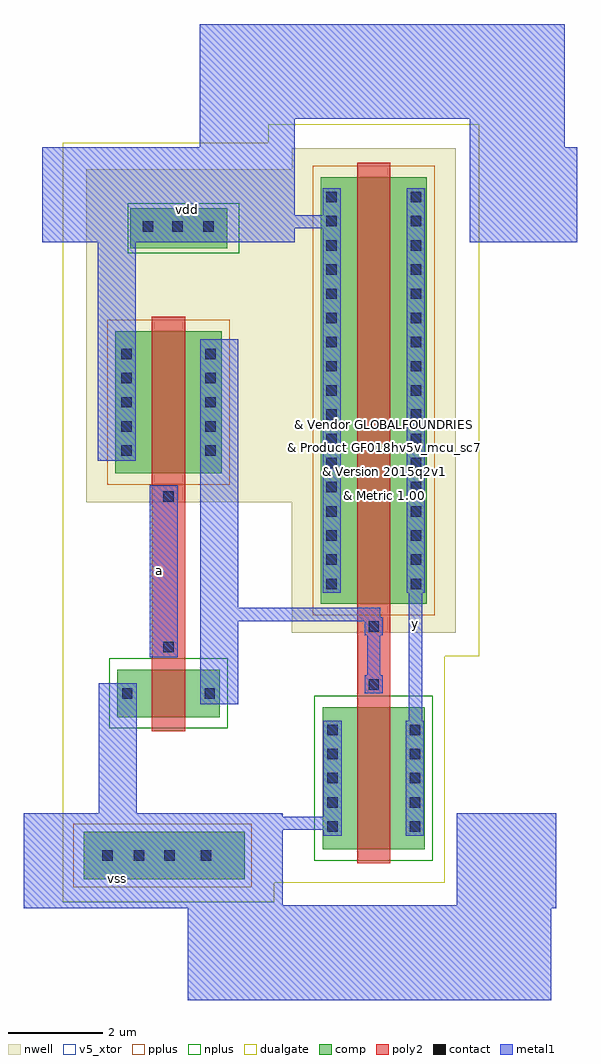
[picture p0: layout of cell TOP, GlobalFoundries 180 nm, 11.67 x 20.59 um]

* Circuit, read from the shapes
.subckt TOP a vdd vss y
XM1 n1 a vss vss nfet_05v0 w=1u l=0.7u
XM2 y n1 vss vss nfet_05v0 w=3u l=0.7u
XM3 n1 a vdd vdd pfet_05v0 w=3u l=0.7u
XM4 y n1 vdd vdd pfet_05v0 w=9u l=0.7u
.ends

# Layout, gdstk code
import gdstk
lib = gdstk.Library(unit=1e-6, precision=1e-08)
def R(c, l, rs):  # rectangles x0, y0, x1, y1
    for r in rs: c.add(gdstk.rectangle(r[:2], r[2:], *l))
def A(c, l, x, y, w, h, nx, ny, dx, dy):  # array of equal rectangles
    R(c, l, [(x+i*dx, y+j*dy, x+i*dx+w, y+j*dy+h) for i in range(nx) for j in range(ny)])
def P(c, l, *ps):  # polygons
    for p in ps: c.add(gdstk.Polygon(p, *l))
nwell = (21, 0)
comp = (22, 0)
poly2 = (30, 0)
pplus = (31, 0)
nplus = (32, 0)
contact = (33, 0)
metal1 = (34, 0)
dualgate = (55, 0)
v5_xtor = (112, 1)

top = lib.new_cell('TOP')
R(top, nwell, [(3.33,-0.27,6.79,9.95), (-1,2.48,3.64,9.51)])
R(top, comp, [(-1.06,-5.47,2.34,-4.47), (3.98,-4.84,4.4,-1.84), (4.4,-4.84,5.72,-1.84), (5.72,-4.84,6.14,-1.84), (-0.35,-2.05,0.07,-1.05), (0.07,-2.05,1.39,-1.05), (1.39,-2.05,1.81,-1.05), (3.94,0.34,4.4,9.34), (4.4,0.34,5.72,9.34), (5.72,0.34,6.18,9.34), (-0.39,3.09,0.07,6.09), (0.07,3.09,1.39,6.09), (1.39,3.09,1.85,6.09), (-0.08,7.84,1.97,8.68)])
R(top, poly2, [(4.71,-5.14,5.41,-1.54), (0.38,-2.35,1.08,-0.75), (4.71,-1.54,5.41,-1.18), (0.38,-0.75,1.08,-0.39), (0.38,-0.65,1.08,3.14), (4.71,0.04,5.41,9.64), (0.38,2.41,1.08,2.79), (0.38,2.79,1.08,6.39)])
P(top, poly2, [(4.71,-1.65),(4.71,0.05),(5.41,0.05),(5.41,-1.65),(5.25,-1.65)])
R(top, pplus, [(-1.28,-5.64,2.49,-4.3), (3.77,0.1,6.35,9.58), (-0.56,2.85,2.02,6.33)])
R(top, nplus, [(3.81,-5.08,6.31,-1.6), (-0.52,-2.29,1.98,-0.81), (-0.13,7.73,2.22,8.79)])
A(top, contact, 4.08, -4.47, 0.22, 0.22, 1, 5, 0, 0.51)
A(top, contact, 5.82, -4.47, 0.22, 0.22, 1, 5, 0, 0.51)
A(top, contact, 4.06, 0.65, 0.22, 0.22, 1, 17, 0, 0.51)
A(top, contact, 5.84, 0.65, 0.22, 0.22, 1, 17, 0, 0.51)
A(top, contact, -0.27, 3.46, 0.22, 0.22, 1, 5, 0, 0.51)
A(top, contact, 1.51, 3.46, 0.22, 0.22, 1, 5, 0, 0.51)
R(top, contact, [(-0.67,-5.08,-0.45,-4.86), (0,-5.08,0.22,-4.86), (0,-5.08,0.22,-4.86), (0.64,-5.08,0.86,-4.86), (1.41,-5.08,1.63,-4.86), (-0.25,-1.66,-0.03,-1.44), (1.49,-1.66,1.71,-1.44), (4.95,-1.47,5.17,-1.25), (0.62,-0.68,0.84,-0.46), (4.95,-0.25,5.17,-0.03), (0.62,2.49,0.84,2.71), (0.19,8.19,0.41,8.41), (0.81,8.19,1.03,8.41), (1.46,8.19,1.68,8.41)])
R(top, metal1, [(-0.75,-5.16,-0.37,-4.78), (4,-4.55,4.38,-2.13), (5.74,-4.55,6.12,-2.13), (-0.33,-1.74,0.05,-1.36), (1.41,-1.74,1.79,-1.36), (4.87,-1.55,5.25,-1.17), (0.54,-0.76,0.92,-0.38), (4.87,-0.33,5.25,0.05), (3.98,0.57,4.36,9.11), (5.76,0.57,6.14,9.11), (0.54,2.41,0.92,2.79), (-0.35,3.38,0.03,5.8), (1.43,3.38,1.81,5.8)])
R(top, dualgate, [(-1.5,-5.95,2.96,10.06), (2.35,-5.55,6.56,-0.76), (-0.77,-2.76,2.23,0.03), (2.83,-0.77,7.29,10.45), (3.52,-0.37,6.6,10.43), (-0.81,2,2.27,6.8)])
R(top, v5_xtor, [(-1.5,-5.96,2.96,10.06), (2.46,-5.55,6.56,-0.76), (-0.77,-2.76,2.23,0.03), (2.83,-0.77,7.29,10.45), (3.52,-0.37,6.6,10.43), (-0.81,2,2.27,6.8)])
top.add(gdstk.FlexPath([(-0.34,-1.34),(-0.34,-4.25)], 0.8, ends="flush", simple_path=True, layer=34, datatype=0))  # metal1
top.add(gdstk.FlexPath([(5.94,0.74),(5.94,-2.36)], 0.28, ends="flush", simple_path=True, layer=34, datatype=0))  # metal1
top.add(gdstk.FlexPath([(-0.36,3.36),(-0.36,8.38)], 0.8, ends="flush", simple_path=True, layer=34, datatype=0))  # metal1
top.add(gdstk.FlexPath([(1.8,5.92),(1.8,-1.78)], 0.8, ends="flush", simple_path=True, layer=34, datatype=0))  # metal1
top.add(gdstk.FlexPath([(0.63,-0.79),(0.63,2.84)], 0.6, ends="flush", simple_path=True, layer=34, datatype=0))  # metal1
top.add(gdstk.FlexPath([(-1.93,8.97),(2.39,8.97),(2.39,11.57),(8.09,11.57),(8.09,8.97),(9.35,8.97),(9.35,8.97)], 2, ends="flush", simple_path=True, layer=34, datatype=0))  # metal1
top.add(gdstk.FlexPath([(-2.32,-5.08),(2.14,-5.08),(2.14,-7.02),(7.81,-7.02),(7.81,-5.08),(8.91,-5.08)], 2, ends="flush", simple_path=True, layer=34, datatype=0))  # metal1
top.add(gdstk.FlexPath([(4.17,-4.29),(2.95,-4.29)], 0.28, ends="flush", simple_path=True, layer=34, datatype=0))  # metal1
top.add(gdstk.FlexPath([(4.14,8.4),(3.1,8.4)], 0.28, ends="flush", simple_path=True, layer=34, datatype=0))  # metal1
top.add(gdstk.FlexPath([(1.78,0.11),(5.06,0.11),(5.06,-1.37)], 0.28, ends="flush", simple_path=True, layer=34, datatype=0))  # metal1
top.add(gdstk.Label('a', (0.53,1.04), layer=34, texttype=10))
top.add(gdstk.Label('y', (5.94,-0.08), layer=34, texttype=10))
top.add(gdstk.Label('vdd', (1.13,8.65), layer=34, texttype=10))
top.add(gdstk.Label('vss', (-0.35,-5.45), layer=34, texttype=10))
top.add(gdstk.Label('& Vendor GLOBALFOUNDRIES', (5.28,4.13), layer=63, texttype=63))
top.add(gdstk.Label('& Product GF018hv5v_mcu_sc7', (5.28,3.63), layer=63, texttype=63))
top.add(gdstk.Label('& Version 2015q2v1', (5.28,3.13), layer=63, texttype=63))
top.add(gdstk.Label('& Metric 1.00', (5.28,2.63), layer=63, texttype=63))

lib.write_gds('TOP.gds')
